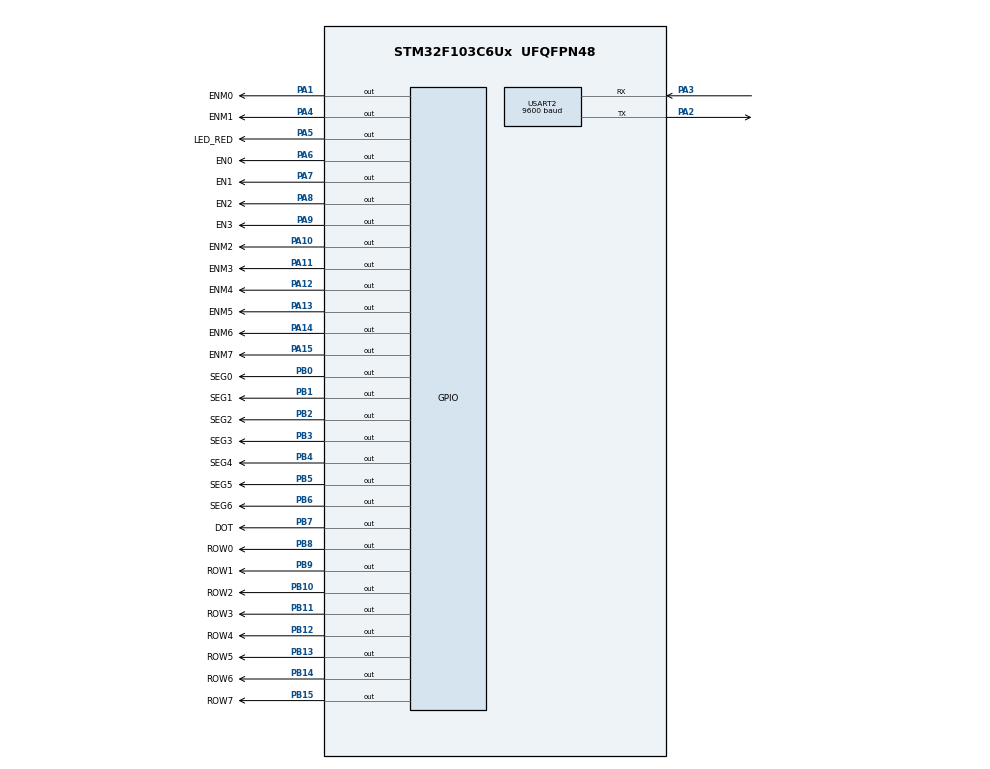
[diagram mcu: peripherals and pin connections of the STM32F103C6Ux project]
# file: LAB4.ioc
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IWDG.Prescaler=IWDG_PRESCALER_256
IWDG.Reload=312
Mcu.Family=STM32F1
Mcu.Name=STM32F103C6Ux
Mcu.Package=UFQFPN48
NVIC.PriorityGroup=NVIC_PRIORITYGROUP_4
NVIC.TIM2_IRQn=true\:0\:0\:false\:false\:true\:true\:true
NVIC.USART2_IRQn=true\:0\:0\:false\:false\:true\:true\:true
PA1.GPIO_Label=ENM0
PA1.Signal=GPIO_Output
PA10.GPIO_Label=ENM2
PA10.Signal=GPIO_Output
PA11.GPIO_Label=ENM3
PA11.Signal=GPIO_Output
PA12.GPIO_Label=ENM4
PA12.Signal=GPIO_Output
PA13.GPIO_Label=ENM5
PA13.Signal=GPIO_Output
PA14.GPIO_Label=ENM6
PA14.Signal=GPIO_Output
PA15.GPIO_Label=ENM7
PA15.Signal=GPIO_Output
PA2.Mode=Asynchronous
PA2.Signal=USART2_TX
PA3.Mode=Asynchronous
PA3.Signal=USART2_RX
PA4.GPIO_Label=ENM1
PA4.Signal=GPIO_Output
PA5.GPIO_Label=LED_RED
PA5.Signal=GPIO_Output
PA6.GPIO_Label=EN0
PA6.Signal=GPIO_Output
PA7.GPIO_Label=EN1
PA7.Signal=GPIO_Output
PA8.GPIO_Label=EN2
PA8.Signal=GPIO_Output
PA9.GPIO_Label=EN3
PA9.Signal=GPIO_Output
PB0.GPIO_Label=SEG0
PB0.Signal=GPIO_Output
PB1.GPIO_Label=SEG1
PB1.Signal=GPIO_Output
PB10.GPIO_Label=ROW2
PB10.Signal=GPIO_Output
PB11.GPIO_Label=ROW3
PB11.Signal=GPIO_Output
PB12.GPIO_Label=ROW4
PB12.Signal=GPIO_Output
PB13.GPIO_Label=ROW5
PB13.Signal=GPIO_Output
PB14.GPIO_Label=ROW6
PB14.Signal=GPIO_Output
PB15.GPIO_Label=ROW7
PB15.Signal=GPIO_Output
PB2.GPIO_Label=SEG2
PB2.Signal=GPIO_Output
PB3.GPIO_Label=SEG3
PB3.Signal=GPIO_Output
PB4.GPIO_Label=SEG4
PB4.Signal=GPIO_Output
PB5.GPIO_Label=SEG5
PB5.Signal=GPIO_Output
PB6.GPIO_Label=SEG6
PB6.Signal=GPIO_Output
PB7.GPIO_Label=DOT
PB7.Signal=GPIO_Output
PB8.GPIO_Label=ROW0
PB8.Signal=GPIO_Output
PB9.GPIO_Label=ROW1
PB9.Signal=GPIO_Output
ProjectManager.HeapSize=0x200
ProjectManager.StackSize=0x400
ProjectManager.TargetToolchain=STM32CubeIDE
RCC.APB1Freq_Value=8000000
RCC.APB2Freq_Value=8000000
TIM2.Period=9
TIM2.Prescaler=7999
USART2.BaudRate=9600
USART2.VirtualMode=VM_ASYNC
VP_IWDG_VS_IWDG.Mode=IWDG_Activate
VP_SYS_VS_ND.Mode=No_Debug
VP_TIM2_VS_ClockSourceINT.Mode=Internal
board=custom

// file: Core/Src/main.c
/* USER CODE BEGIN Header */
/**
  ******************************************************************************
  * @file           : main.c
  * @brief          : Main program body
  ******************************************************************************
  * @attention
  *
  * <h2><center>&copy; Copyright (c) 2026 STMicroelectronics.
  * All rights reserved.</center></h2>
  *
  * This software component is licensed by ST under BSD 3-Clause license,
  * the "License"; You may not use this file except in compliance with the
  * License. You may obtain a copy of the License at:
  *                        opensource.org/licenses/BSD-3-Clause
  *
  ******************************************************************************
  */
/* USER CODE END Header */
#include "main.h"

IWDG_HandleTypeDef hiwdg;

TIM_HandleTypeDef htim2;

void SystemClock_Config(void);
static void MX_GPIO_Init(void);
static void MX_TIM2_Init(void);
static void MX_IWDG_Init(void);
static void MX_USART2_UART_Init(void);

int main(void)
{

  /* MCU Configuration--------------------------------------------------------*/

  /* Reset of all peripherals, Initializes the Flash interface and the Systick. */
  HAL_Init();

  /* Configure the system clock */
  SystemClock_Config();

  /* Initialize all configured peripherals */
  MX_GPIO_Init();
  MX_TIM2_Init();
  MX_IWDG_Init();
  MX_USART2_UART_Init();
  /* USER CODE BEGIN 2 */
  mainInit();
  mainTask();
  /* USER CODE END 2 */

  /* Infinite loop */
  while (1)
  {

    /* USER CODE BEGIN 3 */
	  SCH_DispatchTasks();
  }
  /* USER CODE END 3 */
}

void SystemClock_Config(void)
{
  RCC_OscInitTypeDef RCC_OscInitStruct = {0};
  RCC_ClkInitTypeDef RCC_ClkInitStruct = {0};

  /** Initializes the RCC Oscillators according to the specified parameters
  * in the RCC_OscInitTypeDef structure.
  */
  RCC_OscInitStruct.OscillatorType = RCC_OSCILLATORTYPE_HSI|RCC_OSCILLATORTYPE_LSI;
  RCC_OscInitStruct.HSIState = RCC_HSI_ON;
  RCC_OscInitStruct.HSICalibrationValue = RCC_HSICALIBRATION_DEFAULT;
  RCC_OscInitStruct.LSIState = RCC_LSI_ON;
  RCC_OscInitStruct.PLL.PLLState = RCC_PLL_NONE;
  if (HAL_RCC_OscConfig(&RCC_OscInitStruct) != HAL_OK)
  {
    Error_Handler();
  }
  /** Initializes the CPU, AHB and APB buses clocks
  */
  RCC_ClkInitStruct.ClockType = RCC_CLOCKTYPE_HCLK|RCC_CLOCKTYPE_SYSCLK
                              |RCC_CLOCKTYPE_PCLK1|RCC_CLOCKTYPE_PCLK2;
  RCC_ClkInitStruct.SYSCLKSource = RCC_SYSCLKSOURCE_HSI;
  RCC_ClkInitStruct.AHBCLKDivider = RCC_SYSCLK_DIV1;
  RCC_ClkInitStruct.APB1CLKDivider = RCC_HCLK_DIV1;
  RCC_ClkInitStruct.APB2CLKDivider = RCC_HCLK_DIV1;

  if (HAL_RCC_ClockConfig(&RCC_ClkInitStruct, FLASH_LATENCY_0) != HAL_OK)
  {
    Error_Handler();
  }
}

static void MX_IWDG_Init(void)
{

  hiwdg.Instance = IWDG;
  hiwdg.Init.Prescaler = IWDG_PRESCALER_256;
  hiwdg.Init.Reload = 312;
  if (HAL_IWDG_Init(&hiwdg) != HAL_OK)
  {
    Error_Handler();
  }

}

static void MX_TIM2_Init(void)
{

  TIM_ClockConfigTypeDef sClockSourceConfig = {0};
  TIM_MasterConfigTypeDef sMasterConfig = {0};

  htim2.Instance = TIM2;
  htim2.Init.Prescaler = 7999;
  htim2.Init.CounterMode = TIM_COUNTERMODE_UP;
  htim2.Init.Period = 9;
  htim2.Init.ClockDivision = TIM_CLOCKDIVISION_DIV1;
  htim2.Init.AutoReloadPreload = TIM_AUTORELOAD_PRELOAD_DISABLE;
  if (HAL_TIM_Base_Init(&htim2) != HAL_OK)
  {
    Error_Handler();
  }
  sClockSourceConfig.ClockSource = TIM_CLOCKSOURCE_INTERNAL;
  if (HAL_TIM_ConfigClockSource(&htim2, &sClockSourceConfig) != HAL_OK)
  {
    Error_Handler();
  }
  sMasterConfig.MasterOutputTrigger = TIM_TRGO_RESET;
  sMasterConfig.MasterSlaveMode = TIM_MASTERSLAVEMODE_DISABLE;
  if (HAL_TIMEx_MasterConfigSynchronization(&htim2, &sMasterConfig) != HAL_OK)
  {
    Error_Handler();
  }

}

static void MX_USART2_UART_Init(void)
{

  huart2.Instance = USART2;
  huart2.Init.BaudRate = 9600;
  huart2.Init.WordLength = UART_WORDLENGTH_8B;
  huart2.Init.StopBits = UART_STOPBITS_1;
  huart2.Init.Parity = UART_PARITY_NONE;
  huart2.Init.Mode = UART_MODE_TX_RX;
  huart2.Init.HwFlowCtl = UART_HWCONTROL_NONE;
  huart2.Init.OverSampling = UART_OVERSAMPLING_16;
  if (HAL_UART_Init(&huart2) != HAL_OK)
  {
    Error_Handler();
  }

}

static void MX_GPIO_Init(void)
{
  GPIO_InitTypeDef GPIO_InitStruct = {0};

  /* GPIO Ports Clock Enable */
  __HAL_RCC_GPIOA_CLK_ENABLE();
  __HAL_RCC_GPIOB_CLK_ENABLE();

  /*Configure GPIO pin Output Level */
  HAL_GPIO_WritePin(GPIOA, ENM0_Pin|ENM1_Pin|LED_RED_Pin|EN0_Pin
                          |EN1_Pin|EN2_Pin|EN3_Pin|ENM2_Pin
                          |ENM3_Pin|ENM4_Pin|ENM5_Pin|ENM6_Pin
                          |ENM7_Pin, GPIO_PIN_RESET);

  /*Configure GPIO pin Output Level */
  HAL_GPIO_WritePin(GPIOB, SEG0_Pin|SEG1_Pin|SEG2_Pin|ROW2_Pin
                          |ROW3_Pin|ROW4_Pin|ROW5_Pin|ROW6_Pin
                          |ROW7_Pin|SEG3_Pin|SEG4_Pin|SEG5_Pin
                          |SEG6_Pin|DOT_Pin|ROW0_Pin|ROW1_Pin, GPIO_PIN_RESET);

  /*Configure GPIO pins : ENM0_Pin ENM1_Pin LED_RED_Pin EN0_Pin
                           EN1_Pin EN2_Pin EN3_Pin ENM2_Pin
                           ENM3_Pin ENM4_Pin ENM5_Pin ENM6_Pin
                           ENM7_Pin */
  GPIO_InitStruct.Pin = ENM0_Pin|ENM1_Pin|LED_RED_Pin|EN0_Pin
                          |EN1_Pin|EN2_Pin|EN3_Pin|ENM2_Pin
                          |ENM3_Pin|ENM4_Pin|ENM5_Pin|ENM6_Pin
                          |ENM7_Pin;
  GPIO_InitStruct.Mode = GPIO_MODE_OUTPUT_PP;
  GPIO_InitStruct.Pull = GPIO_NOPULL;
  GPIO_InitStruct.Speed = GPIO_SPEED_FREQ_LOW;
  HAL_GPIO_Init(GPIOA, &GPIO_InitStruct);

  /*Configure GPIO pins : SEG0_Pin SEG1_Pin SEG2_Pin ROW2_Pin
                           ROW3_Pin ROW4_Pin ROW5_Pin ROW6_Pin
                           ROW7_Pin SEG3_Pin SEG4_Pin SEG5_Pin
                           SEG6_Pin DOT_Pin ROW0_Pin ROW1_Pin */
  GPIO_InitStruct.Pin = SEG0_Pin|SEG1_Pin|SEG2_Pin|ROW2_Pin
                          |ROW3_Pin|ROW4_Pin|ROW5_Pin|ROW6_Pin
                          |ROW7_Pin|SEG3_Pin|SEG4_Pin|SEG5_Pin
                          |SEG6_Pin|DOT_Pin|ROW0_Pin|ROW1_Pin;
  GPIO_InitStruct.Mode = GPIO_MODE_OUTPUT_PP;
  GPIO_InitStruct.Pull = GPIO_NOPULL;
  GPIO_InitStruct.Speed = GPIO_SPEED_FREQ_LOW;
  HAL_GPIO_Init(GPIOB, &GPIO_InitStruct);

}

/* USER CODE BEGIN 4 */
void HAL_TIM_PeriodElapsedCallback(TIM_HandleTypeDef *htim){
	if (htim->Instance == TIM2){
		SCH_Update();
		//errorRun();
	}
}

void mainInit(){
	clockInit(15, 8, 50);
	SCH_Init();
	errorInit();
	watchDogInit();
}
void mainTask(){
	SCH_AddTask(ledBlinking, 20, 2000, "Led Blinking");
	SCH_AddTask(dotBlinking, 30, 1000, "Dot Blinking");
	SCH_AddTask(updateClockBuffer,0,1000, "Update Clock Buffer");
	SCH_AddTask(updateClock, 1000, 1000, "Update Clock");
	SCH_AddTask(update7SEGIndex,250,250, "Update 7Seg Index");
	SCH_AddTask(update7SEGBuffer,0,250, "Update 7Seg Buffer");
	SCH_AddTask(updateFrame, 800, 800, "Update Frame");
	SCH_AddTask(updateIndex, 100, 100, "Update Matrix Index");
	SCH_AddTask(updateMatrixBuffer,0,0, "Update Matrix Buffer");
	SCH_AddTask(watchDogRefresh,10,100, "Refresh Watchdog");
}
/* USER CODE END 4 */

void Error_Handler(void)
{
  __disable_irq();
  while (1)
  {
  }
}

/************************ (C) COPYRIGHT STMicroelectronics *****END OF FILE****/
